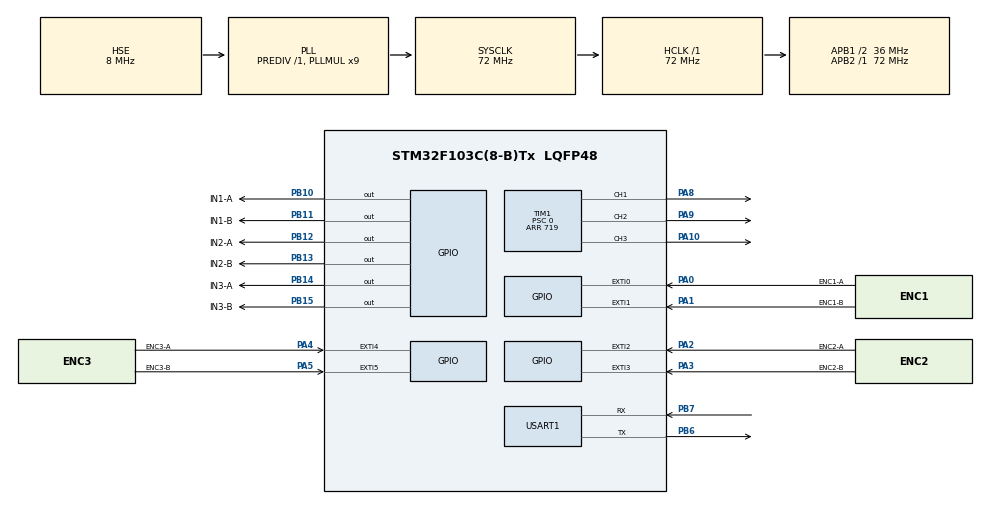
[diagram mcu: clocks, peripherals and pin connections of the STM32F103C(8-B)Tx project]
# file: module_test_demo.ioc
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Dma.Request0=USART1_RX
Dma.Request1=USART1_TX
Dma.USART1_RX.0.Direction=DMA_PERIPH_TO_MEMORY
Dma.USART1_RX.0.Instance=DMA1_Channel5
Dma.USART1_RX.0.MemDataAlignment=DMA_MDATAALIGN_BYTE
Dma.USART1_RX.0.MemInc=DMA_MINC_ENABLE
Dma.USART1_RX.0.Mode=DMA_NORMAL
Dma.USART1_RX.0.PeriphDataAlignment=DMA_PDATAALIGN_BYTE
Dma.USART1_RX.0.PeriphInc=DMA_PINC_DISABLE
Dma.USART1_RX.0.Priority=DMA_PRIORITY_LOW
Dma.USART1_TX.1.Direction=DMA_MEMORY_TO_PERIPH
Dma.USART1_TX.1.Instance=DMA1_Channel4
Dma.USART1_TX.1.MemDataAlignment=DMA_MDATAALIGN_BYTE
Dma.USART1_TX.1.MemInc=DMA_MINC_ENABLE
Dma.USART1_TX.1.Mode=DMA_NORMAL
Dma.USART1_TX.1.PeriphDataAlignment=DMA_PDATAALIGN_BYTE
Dma.USART1_TX.1.PeriphInc=DMA_PINC_DISABLE
Dma.USART1_TX.1.Priority=DMA_PRIORITY_LOW
Mcu.Family=STM32F1
Mcu.Name=STM32F103C(8-B)Tx
Mcu.Package=LQFP48
NVIC.DMA1_Channel4_IRQn=true\:0\:0\:false\:false\:true\:false\:true\:true
NVIC.DMA1_Channel5_IRQn=true\:0\:0\:false\:false\:true\:false\:true\:true
NVIC.EXTI0_IRQn=true\:0\:0\:false\:false\:true\:true\:true\:true
NVIC.EXTI1_IRQn=true\:0\:0\:false\:false\:true\:true\:true\:true
NVIC.EXTI2_IRQn=true\:0\:0\:false\:false\:true\:true\:true\:true
NVIC.EXTI3_IRQn=true\:0\:0\:false\:false\:true\:true\:true\:true
NVIC.EXTI4_IRQn=true\:0\:0\:false\:false\:true\:true\:true\:true
NVIC.EXTI9_5_IRQn=true\:0\:0\:false\:false\:true\:true\:true\:true
NVIC.PriorityGroup=NVIC_PRIORITYGROUP_4
NVIC.TIM1_BRK_IRQn=true\:0\:0\:false\:false\:true\:true\:true\:true
NVIC.TIM4_IRQn=true\:0\:0\:false\:false\:true\:true\:true\:true
PA0-WKUP.GPIO_Label=ENC1-A
PA0-WKUP.Signal=GPXTI0
PA1.GPIO_Label=ENC1-B
PA1.Signal=GPXTI1
PA10.Signal=S_TIM1_CH3
PA13.Mode=Serial_Wire
PA13.Signal=SYS_JTMS-SWDIO
PA14.Mode=Serial_Wire
PA14.Signal=SYS_JTCK-SWCLK
PA2.GPIO_Label=ENC2-A
PA2.Signal=GPXTI2
PA3.GPIO_Label=ENC2-B
PA3.Signal=GPXTI3
PA4.GPIO_Label=ENC3-A
PA4.GPIO_PuPd=GPIO_PULLDOWN
PA4.Signal=GPXTI4
PA5.GPIO_Label=ENC3-B
PA5.GPIO_PuPd=GPIO_PULLDOWN
PA5.Signal=GPXTI5
PA8.Signal=S_TIM1_CH1
PA9.Signal=S_TIM1_CH2
PB10.GPIO_Label=IN1-A
PB10.Signal=GPIO_Output
PB11.GPIO_Label=IN1-B
PB11.Signal=GPIO_Output
PB12.GPIO_Label=IN2-A
PB12.Signal=GPIO_Output
PB13.GPIO_Label=IN2-B
PB13.Signal=GPIO_Output
PB14.GPIO_Label=IN3-A
PB14.Signal=GPIO_Output
PB15.GPIO_Label=IN3-B
PB15.Signal=GPIO_Output
PB6.Mode=Asynchronous
PB6.Signal=USART1_TX
PB7.Mode=Asynchronous
PB7.Signal=USART1_RX
PD0-OSC_IN.Mode=HSE-External-Oscillator
PD0-OSC_IN.Signal=RCC_OSC_IN
PD1-OSC_OUT.Mode=HSE-External-Oscillator
PD1-OSC_OUT.Signal=RCC_OSC_OUT
ProjectManager.HeapSize=0x200
ProjectManager.StackSize=0x400
ProjectManager.TargetToolchain=STM32CubeIDE
RCC.AHBFreq_Value=72000000
RCC.APB1CLKDivider=RCC_HCLK_DIV2
RCC.APB1Freq_Value=36000000
RCC.APB1TimFreq_Value=72000000
RCC.APB2Freq_Value=72000000
RCC.APB2TimFreq_Value=72000000
RCC.HCLKFreq_Value=72000000
RCC.PLLMUL=RCC_PLL_MUL9
RCC.PLLSourceVirtual=RCC_PLLSOURCE_HSE
RCC.SYSCLKFreq_VALUE=72000000
RCC.SYSCLKSource=RCC_SYSCLKSOURCE_PLLCLK
RCC.USBFreq_Value=72000000
SH.S_TIM1_CH1.0=TIM1_CH1,PWM Generation1 CH1
SH.S_TIM1_CH2.0=TIM1_CH2,PWM Generation2 CH2
SH.S_TIM1_CH3.0=TIM1_CH3,PWM Generation3 CH3
TIM1.AutoReloadPreload=TIM_AUTORELOAD_PRELOAD_ENABLE
TIM1.Channel-PWM\ Generation1\ CH1=TIM_CHANNEL_1
TIM1.Channel-PWM\ Generation2\ CH2=TIM_CHANNEL_2
TIM1.Channel-PWM\ Generation3\ CH3=TIM_CHANNEL_3
TIM1.Period=719
TIM1.Prescaler=0
TIM4.AutoReloadPreload=TIM_AUTORELOAD_PRELOAD_ENABLE
TIM4.Period=35999
TIM4.Prescaler=7
USART1.VirtualMode=VM_ASYNC
VP_TIM1_VS_ClockSourceINT.Mode=Internal
VP_TIM4_VS_ClockSourceINT.Mode=Internal
board=custom

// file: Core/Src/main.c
/* USER CODE BEGIN Header */
/**
  ******************************************************************************
  * @file           : main.c
  * @brief          : Main program body
  ******************************************************************************
  * @attention
  *
  * Copyright (c) 2022 STMicroelectronics.
  * All rights reserved.
  *
  * This software is licensed under terms that can be found in the LICENSE file
  * in the root directory of this software component.
  * If no LICENSE file comes with this software, it is provided AS-IS.
  *
  ******************************************************************************
  */
/* USER CODE END Header */
#include "main.h"

TIM_HandleTypeDef htim1;
TIM_HandleTypeDef htim4;

UART_HandleTypeDef huart1;
DMA_HandleTypeDef hdma_usart1_rx;
DMA_HandleTypeDef hdma_usart1_tx;

/* USER CODE BEGIN PV */
/* Define and initialize the encoder and motor position variables (pulse counters) */
int enc1_pos;
int enc2_pos = 0;
int enc3_pos = 0;
int cnt = 0;

float delta_t = 1/2000;

float kp1=10.0;
float ki1=0.0;
float kd1=0.0;

float kp2=10.0;
float ki2=0.0;
float kd2=0.0;

float kp3=10.0;
float ki3=0.0;
float kd3=0.0;

uint8_t mot1_dir = 0; /* Either 0 or 1 */
uint8_t mot2_dir = 0;
uint8_t mot3_dir = 0;

/* PWM-Specific Variables */
int duty1 = 0;
int duty2 = 0;
int duty3 = 0;

/* Position set */
uint32_t mot1_set_pos = 0; /* WHAT SHOULD BE THE LIMITS??? */
uint32_t mot2_set_pos = 0;
uint32_t mot3_set_pos = 0;

/* Define pin state */
GPIO_PinState LOW = 0;
GPIO_PinState HIGH = 1;

/* Boolean enable variable for 2-DOF loopy mode */
enable_2DOF = 0;
pos1_2DOF = 0;
pos2_2DOF = 0;
pos3_2DOF = 0;

/* USER CODE END PV */

void SystemClock_Config(void);
static void MX_GPIO_Init(void);
static void MX_DMA_Init(void);
static void MX_TIM1_Init(void);
static void MX_TIM4_Init(void);
static void MX_USART1_UART_Init(void);
/* USER CODE BEGIN PFP */
void loop_2DOF(int pos1, int pos2, int pos3);
/* USER CODE END PFP */

/* USER CODE BEGIN 0 */
void loop_2DOF(int pos1, int pos2, int pos3){
	// Configure set position values for position 1
	mot1_set_pos = pos1;
	mot2_set_pos = pos2;
	mot3_set_pos = pos3;
	enable_2DOF = 0;
}
/* USER CODE END 0 */

int main(void)
{

  /* MCU Configuration--------------------------------------------------------*/

  /* Reset of all peripherals, Initializes the Flash interface and the Systick. */
  HAL_Init();

  /* Configure the system clock */
  SystemClock_Config();

  /* Initialize all configured peripherals */
  MX_GPIO_Init();
  MX_DMA_Init();
  MX_TIM1_Init();
  MX_TIM4_Init();
  MX_USART1_UART_Init();
  /* USER CODE BEGIN 2 */
  HAL_TIM_Base_Start_IT(&htim4);
  HAL_TIM_Base_Start_IT(&htim1);

  HAL_TIM_PWM_Start(&htim1, TIM_CHANNEL_1);
  HAL_TIM_PWM_Start(&htim1, TIM_CHANNEL_2);
  HAL_TIM_PWM_Start(&htim1, TIM_CHANNEL_3);
  HAL_GPIO_WritePin(GPIOB, IN1_B_Pin, LOW);
  HAL_GPIO_WritePin(GPIOB, IN1_A_Pin, LOW);
  /* USER CODE END 2 */

  /* Infinite loop */
  while (1)
  {
	  if(enable_2DOF){
		  loop_2DOF(pos1_2DOF, pos2_2DOF, pos3_2DOF);
	  }
  }
}

void SystemClock_Config(void)
{
  RCC_OscInitTypeDef RCC_OscInitStruct = {0};
  RCC_ClkInitTypeDef RCC_ClkInitStruct = {0};

  /** Initializes the RCC Oscillators according to the specified parameters
  * in the RCC_OscInitTypeDef structure.
  */
  RCC_OscInitStruct.OscillatorType = RCC_OSCILLATORTYPE_HSE;
  RCC_OscInitStruct.HSEState = RCC_HSE_ON;
  RCC_OscInitStruct.HSEPredivValue = RCC_HSE_PREDIV_DIV1;
  RCC_OscInitStruct.HSIState = RCC_HSI_ON;
  RCC_OscInitStruct.PLL.PLLState = RCC_PLL_ON;
  RCC_OscInitStruct.PLL.PLLSource = RCC_PLLSOURCE_HSE;
  RCC_OscInitStruct.PLL.PLLMUL = RCC_PLL_MUL9;
  if (HAL_RCC_OscConfig(&RCC_OscInitStruct) != HAL_OK)
  {
    Error_Handler();
  }

  /** Initializes the CPU, AHB and APB buses clocks
  */
  RCC_ClkInitStruct.ClockType = RCC_CLOCKTYPE_HCLK|RCC_CLOCKTYPE_SYSCLK
                              |RCC_CLOCKTYPE_PCLK1|RCC_CLOCKTYPE_PCLK2;
  RCC_ClkInitStruct.SYSCLKSource = RCC_SYSCLKSOURCE_PLLCLK;
  RCC_ClkInitStruct.AHBCLKDivider = RCC_SYSCLK_DIV1;
  RCC_ClkInitStruct.APB1CLKDivider = RCC_HCLK_DIV2;
  RCC_ClkInitStruct.APB2CLKDivider = RCC_HCLK_DIV1;

  if (HAL_RCC_ClockConfig(&RCC_ClkInitStruct, FLASH_LATENCY_2) != HAL_OK)
  {
    Error_Handler();
  }
}

static void MX_TIM1_Init(void)
{

  TIM_ClockConfigTypeDef sClockSourceConfig = {0};
  TIM_MasterConfigTypeDef sMasterConfig = {0};
  TIM_OC_InitTypeDef sConfigOC = {0};
  TIM_BreakDeadTimeConfigTypeDef sBreakDeadTimeConfig = {0};

  htim1.Instance = TIM1;
  htim1.Init.Prescaler = 0;
  htim1.Init.CounterMode = TIM_COUNTERMODE_UP;
  htim1.Init.Period = 719;
  htim1.Init.ClockDivision = TIM_CLOCKDIVISION_DIV1;
  htim1.Init.RepetitionCounter = 0;
  htim1.Init.AutoReloadPreload = TIM_AUTORELOAD_PRELOAD_ENABLE;
  if (HAL_TIM_Base_Init(&htim1) != HAL_OK)
  {
    Error_Handler();
  }
  sClockSourceConfig.ClockSource = TIM_CLOCKSOURCE_INTERNAL;
  if (HAL_TIM_ConfigClockSource(&htim1, &sClockSourceConfig) != HAL_OK)
  {
    Error_Handler();
  }
  if (HAL_TIM_PWM_Init(&htim1) != HAL_OK)
  {
    Error_Handler();
  }
  sMasterConfig.MasterOutputTrigger = TIM_TRGO_RESET;
  sMasterConfig.MasterSlaveMode = TIM_MASTERSLAVEMODE_DISABLE;
  if (HAL_TIMEx_MasterConfigSynchronization(&htim1, &sMasterConfig) != HAL_OK)
  {
    Error_Handler();
  }
  sConfigOC.OCMode = TIM_OCMODE_PWM1;
  sConfigOC.Pulse = 0;
  sConfigOC.OCPolarity = TIM_OCPOLARITY_HIGH;
  sConfigOC.OCNPolarity = TIM_OCNPOLARITY_HIGH;
  sConfigOC.OCFastMode = TIM_OCFAST_DISABLE;
  sConfigOC.OCIdleState = TIM_OCIDLESTATE_RESET;
  sConfigOC.OCNIdleState = TIM_OCNIDLESTATE_RESET;
  if (HAL_TIM_PWM_ConfigChannel(&htim1, &sConfigOC, TIM_CHANNEL_1) != HAL_OK)
  {
    Error_Handler();
  }
  if (HAL_TIM_PWM_ConfigChannel(&htim1, &sConfigOC, TIM_CHANNEL_2) != HAL_OK)
  {
    Error_Handler();
  }
  if (HAL_TIM_PWM_ConfigChannel(&htim1, &sConfigOC, TIM_CHANNEL_3) != HAL_OK)
  {
    Error_Handler();
  }
  sBreakDeadTimeConfig.OffStateRunMode = TIM_OSSR_DISABLE;
  sBreakDeadTimeConfig.OffStateIDLEMode = TIM_OSSI_DISABLE;
  sBreakDeadTimeConfig.LockLevel = TIM_LOCKLEVEL_OFF;
  sBreakDeadTimeConfig.DeadTime = 0;
  sBreakDeadTimeConfig.BreakState = TIM_BREAK_DISABLE;
  sBreakDeadTimeConfig.BreakPolarity = TIM_BREAKPOLARITY_HIGH;
  sBreakDeadTimeConfig.AutomaticOutput = TIM_AUTOMATICOUTPUT_DISABLE;
  if (HAL_TIMEx_ConfigBreakDeadTime(&htim1, &sBreakDeadTimeConfig) != HAL_OK)
  {
    Error_Handler();
  }
  HAL_TIM_MspPostInit(&htim1);

}

static void MX_TIM4_Init(void)
{

  TIM_ClockConfigTypeDef sClockSourceConfig = {0};
  TIM_MasterConfigTypeDef sMasterConfig = {0};

  htim4.Instance = TIM4;
  htim4.Init.Prescaler = 7;
  htim4.Init.CounterMode = TIM_COUNTERMODE_UP;
  htim4.Init.Period = 35999;
  htim4.Init.ClockDivision = TIM_CLOCKDIVISION_DIV1;
  htim4.Init.AutoReloadPreload = TIM_AUTORELOAD_PRELOAD_ENABLE;
  if (HAL_TIM_Base_Init(&htim4) != HAL_OK)
  {
    Error_Handler();
  }
  sClockSourceConfig.ClockSource = TIM_CLOCKSOURCE_INTERNAL;
  if (HAL_TIM_ConfigClockSource(&htim4, &sClockSourceConfig) != HAL_OK)
  {
    Error_Handler();
  }
  sMasterConfig.MasterOutputTrigger = TIM_TRGO_RESET;
  sMasterConfig.MasterSlaveMode = TIM_MASTERSLAVEMODE_DISABLE;
  if (HAL_TIMEx_MasterConfigSynchronization(&htim4, &sMasterConfig) != HAL_OK)
  {
    Error_Handler();
  }

}

static void MX_USART1_UART_Init(void)
{

  huart1.Instance = USART1;
  huart1.Init.BaudRate = 115200;
  huart1.Init.WordLength = UART_WORDLENGTH_8B;
  huart1.Init.StopBits = UART_STOPBITS_1;
  huart1.Init.Parity = UART_PARITY_NONE;
  huart1.Init.Mode = UART_MODE_TX_RX;
  huart1.Init.HwFlowCtl = UART_HWCONTROL_NONE;
  huart1.Init.OverSampling = UART_OVERSAMPLING_16;
  if (HAL_UART_Init(&huart1) != HAL_OK)
  {
    Error_Handler();
  }

}

static void MX_DMA_Init(void)
{

  /* DMA controller clock enable */
  __HAL_RCC_DMA1_CLK_ENABLE();

  /* DMA interrupt init */
  /* DMA1_Channel4_IRQn interrupt configuration */
  HAL_NVIC_SetPriority(DMA1_Channel4_IRQn, 0, 0);
  HAL_NVIC_EnableIRQ(DMA1_Channel4_IRQn);
  /* DMA1_Channel5_IRQn interrupt configuration */
  HAL_NVIC_SetPriority(DMA1_Channel5_IRQn, 0, 0);
  HAL_NVIC_EnableIRQ(DMA1_Channel5_IRQn);

}

static void MX_GPIO_Init(void)
{
  GPIO_InitTypeDef GPIO_InitStruct = {0};

  /* GPIO Ports Clock Enable */
  __HAL_RCC_GPIOD_CLK_ENABLE();
  __HAL_RCC_GPIOA_CLK_ENABLE();
  __HAL_RCC_GPIOB_CLK_ENABLE();

  /*Configure GPIO pin Output Level */
  HAL_GPIO_WritePin(GPIOB, IN1_A_Pin|IN1_B_Pin|IN2_A_Pin|IN2_B_Pin
                          |IN3_A_Pin|IN3_B_Pin, GPIO_PIN_RESET);

  /*Configure GPIO pins : ENC1_A_Pin ENC1_B_Pin ENC2_A_Pin ENC2_B_Pin */
  GPIO_InitStruct.Pin = ENC1_A_Pin|ENC1_B_Pin|ENC2_A_Pin|ENC2_B_Pin;
  GPIO_InitStruct.Mode = GPIO_MODE_IT_RISING;
  GPIO_InitStruct.Pull = GPIO_NOPULL;
  HAL_GPIO_Init(GPIOA, &GPIO_InitStruct);

  /*Configure GPIO pins : ENC3_A_Pin ENC3_B_Pin */
  GPIO_InitStruct.Pin = ENC3_A_Pin|ENC3_B_Pin;
  GPIO_InitStruct.Mode = GPIO_MODE_IT_RISING;
  GPIO_InitStruct.Pull = GPIO_PULLDOWN;
  HAL_GPIO_Init(GPIOA, &GPIO_InitStruct);

  /*Configure GPIO pins : IN1_A_Pin IN1_B_Pin IN2_A_Pin IN2_B_Pin
                           IN3_A_Pin IN3_B_Pin */
  GPIO_InitStruct.Pin = IN1_A_Pin|IN1_B_Pin|IN2_A_Pin|IN2_B_Pin
                          |IN3_A_Pin|IN3_B_Pin;
  GPIO_InitStruct.Mode = GPIO_MODE_OUTPUT_PP;
  GPIO_InitStruct.Pull = GPIO_NOPULL;
  GPIO_InitStruct.Speed = GPIO_SPEED_FREQ_LOW;
  HAL_GPIO_Init(GPIOB, &GPIO_InitStruct);

  /* EXTI interrupt init*/
  HAL_NVIC_SetPriority(EXTI0_IRQn, 0, 0);
  HAL_NVIC_EnableIRQ(EXTI0_IRQn);

  HAL_NVIC_SetPriority(EXTI1_IRQn, 0, 0);
  HAL_NVIC_EnableIRQ(EXTI1_IRQn);

  HAL_NVIC_SetPriority(EXTI2_IRQn, 0, 0);
  HAL_NVIC_EnableIRQ(EXTI2_IRQn);

  HAL_NVIC_SetPriority(EXTI3_IRQn, 0, 0);
  HAL_NVIC_EnableIRQ(EXTI3_IRQn);

  HAL_NVIC_SetPriority(EXTI4_IRQn, 0, 0);
  HAL_NVIC_EnableIRQ(EXTI4_IRQn);

  HAL_NVIC_SetPriority(EXTI9_5_IRQn, 0, 0);
  HAL_NVIC_EnableIRQ(EXTI9_5_IRQn);

}

void Error_Handler(void)
{
  __disable_irq();
  while (1)
  {
  }
}
